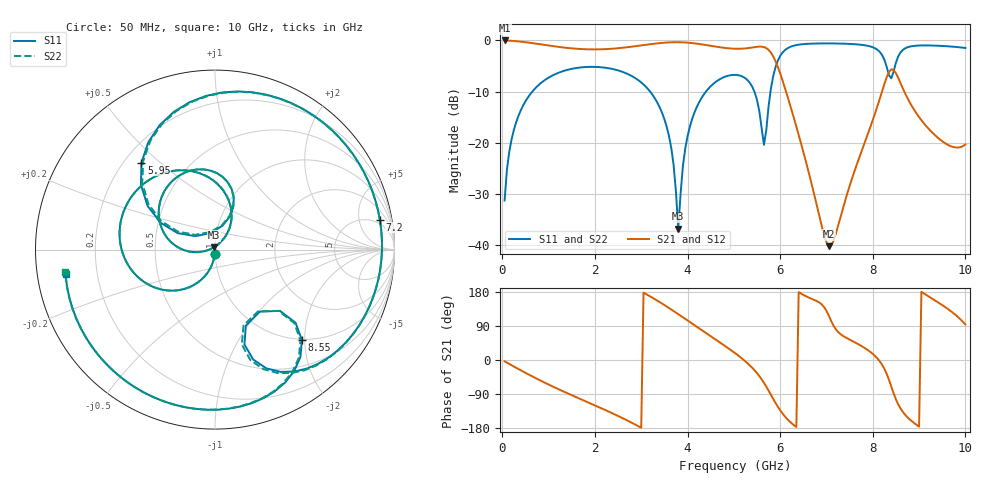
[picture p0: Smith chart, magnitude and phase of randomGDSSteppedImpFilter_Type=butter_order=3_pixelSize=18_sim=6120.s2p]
! freq	dB(S11)	phase(S11)	dB(S12)	phase(S12)
!  dB(S21)	phase(S21)	dB(S22)	phase(S22)
!S-par simulation data
#  GHz  S  DB  R 50
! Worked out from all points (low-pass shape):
!   200 points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, 50 MHz to 10 GHz, reference 50 ohm
!   highest |S21| = -0.01 dB at 50 MHz (marker M1); lowest = -40.2 dB at 7.05 GHz (marker M2)
!   |S21| within 3 dB of the highest: start of sweep to 5.842 GHz
!   lowest |S11| = -36.8 dB at 3.8 GHz (marker M3), VSWR 1.03, Z = 49.3 + j1.27 ohm
!   |S11| at or under -10 dB: start of sweep to 648.1 MHz; 3.192 GHz to 4.398 GHz (1.206 GHz wide, 31.8 % of centre); 5.443 GHz to 5.792 GHz (348.2 MHz wide, 6.2 % of centre)
!   |S22| runs from -37.4 to -0.6 dB; largest |S21 - S12| = 0
!   S11 on the Smith chart (normalised r, x): 50 MHz: 1.00, -0.05; 5.95 GHz: 0.27, +0.44; 7.2 GHz: 4, +10; 8.55 GHz: 0.98, -1.94; 10 GHz: 0.09, -0.08
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0.05  -31.28 -93.6  -0.01 -3.5  -0.01 -3.5  -31.28 -93.6
0.2  -19.35 -104.2  -0.08 -13.8  -0.08 -13.8  -19.35 -104.2
0.5  -11.90 -124.4  -0.34 -33.8  -0.34 -33.8  -11.90 -124.4
1.75  -5.22 163.3  -1.70 -106.4  -1.70 -106.4  -5.22 163.2
3.4  -13.10 65.5  -0.52 152.7  -0.52 152.7  -13.10 65.0
3.65  -21.07 51.8  -0.37 133.2  -0.37 133.2  -21.08 50.9
3.8  -36.76 117.8  -0.35 121.0  -0.35 121.0  -37.39 117.3
3.95  -21.16 -171.1  -0.40 108.6  -0.40 108.6  -21.18 -170.6
4.15  -14.07 177.7  -0.57 91.9  -0.57 91.9  -14.08 177.8
5.05  -6.74 106.4  -1.63 15.9  -1.63 15.9  -6.74 106.3
5.45  -10.14 70.4  -1.31 -27.5  -1.31 -27.5  -10.11 70.7
5.65  -20.41 103.7  -1.30 -60.2  -1.30 -60.2  -19.88 103.9
5.95  -3.95 130.2  -5.17 -123.3  -5.17 -123.3  -3.94 129.0
6.25  -1.15 87.4  -13.71 -167.2  -13.71 -167.2  -1.14 86.4
6.7  -0.62 46.3  -28.78 160.5  -28.78 160.5  -0.62 45.4
7.05  -0.58 20.7  -40.19 117.1  -40.19 117.1  -0.59 19.7
7.2  -0.60 10.3  -37.82 81.4  -37.82 81.4  -0.60 9.3
8.05  -1.54 -52.2  -14.24 10.5  -14.24 10.5  -1.55 -53.5
8.35  -6.79 -68.0  -6.16 -52.3  -6.16 -52.3  -6.91 -69.3
8.55  -3.11 -46.1  -7.34 -117.2  -7.34 -117.2  -3.14 -46.8
9.15  -0.97 -100.7  -16.70 172.0  -16.70 172.0  -0.98 -101.7
10  -1.47 -170.6  -20.32 93.8  -20.32 93.8  -1.47 -171.6
